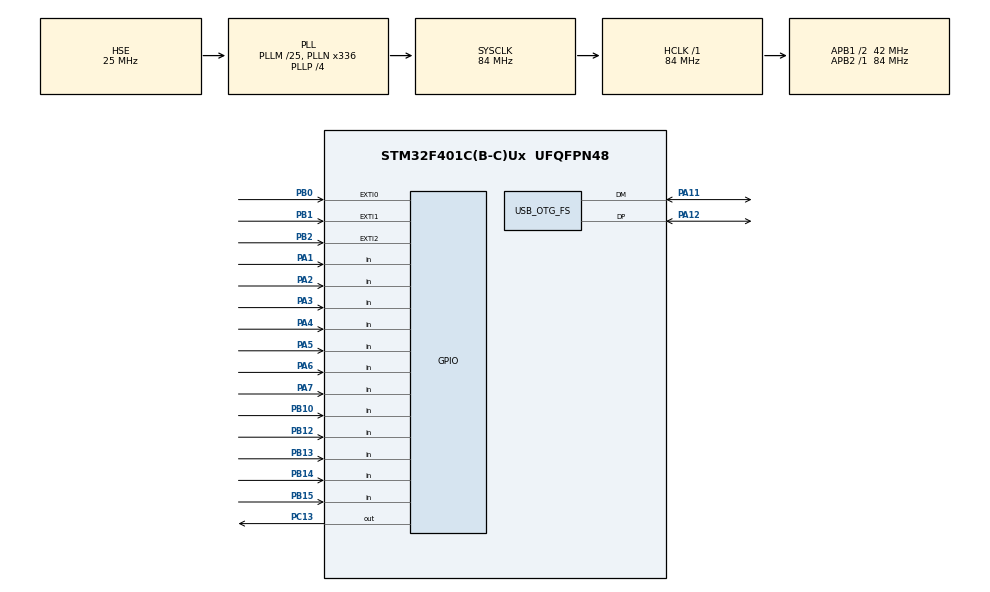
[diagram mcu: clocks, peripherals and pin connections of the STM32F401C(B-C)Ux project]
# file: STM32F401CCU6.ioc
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FREERTOS.Tasks01=defaultTask,24,128,StartDefaultTask,Default,NULL,Dynamic,NULL,NULL
FREERTOS.configUSE_NEWLIB_REENTRANT=1
Mcu.Family=STM32F4
Mcu.Name=STM32F401C(B-C)Ux
Mcu.Package=UFQFPN48
NVIC.EXTI0_IRQn=true\:5\:0\:false\:false\:true\:true\:true\:true\:true
NVIC.EXTI1_IRQn=true\:5\:0\:false\:false\:true\:true\:true\:true\:true
NVIC.EXTI2_IRQn=true\:5\:0\:false\:false\:true\:true\:true\:true\:true
NVIC.OTG_FS_IRQn=true\:5\:0\:false\:false\:true\:true\:false\:true\:true
NVIC.PriorityGroup=NVIC_PRIORITYGROUP_4
NVIC.TIM1_UP_TIM10_IRQn=true\:15\:0\:false\:false\:true\:false\:false\:true\:true
NVIC.TimeBase=TIM1_UP_TIM10_IRQn
NVIC.TimeBaseIP=TIM1
PA1.GPIO_PuPd=GPIO_PULLUP
PA1.Signal=GPIO_Input
PA11.Mode=Device_Only
PA11.Signal=USB_OTG_FS_DM
PA12.Mode=Device_Only
PA12.Signal=USB_OTG_FS_DP
PA13.Mode=Serial_Wire
PA13.Signal=SYS_JTMS-SWDIO
PA14.Mode=Serial_Wire
PA14.Signal=SYS_JTCK-SWCLK
PA2.GPIO_PuPd=GPIO_PULLUP
PA2.Signal=GPIO_Input
PA3.GPIO_PuPd=GPIO_PULLUP
PA3.Signal=GPIO_Input
PA4.GPIO_PuPd=GPIO_PULLUP
PA4.Signal=GPIO_Input
PA5.GPIO_PuPd=GPIO_PULLUP
PA5.Signal=GPIO_Input
PA6.GPIO_PuPd=GPIO_PULLUP
PA6.Signal=GPIO_Input
PA7.GPIO_PuPd=GPIO_PULLUP
PA7.Signal=GPIO_Input
PB0.GPIO_ModeDefaultEXTI=GPIO_MODE_IT_RISING
PB0.GPIO_PuPd=GPIO_PULLDOWN
PB0.Signal=GPXTI0
PB1.GPIO_ModeDefaultEXTI=GPIO_MODE_IT_RISING
PB1.GPIO_PuPd=GPIO_PULLDOWN
PB1.Signal=GPXTI1
PB10.GPIO_PuPd=GPIO_PULLUP
PB10.Signal=GPIO_Input
PB12.GPIO_PuPd=GPIO_PULLUP
PB12.Signal=GPIO_Input
PB13.GPIO_PuPd=GPIO_PULLUP
PB13.Signal=GPIO_Input
PB14.GPIO_PuPd=GPIO_PULLUP
PB14.Signal=GPIO_Input
PB15.GPIO_PuPd=GPIO_PULLUP
PB15.Signal=GPIO_Input
PB2.GPIO_ModeDefaultEXTI=GPIO_MODE_IT_RISING
PB2.GPIO_PuPd=GPIO_PULLDOWN
PB2.Signal=GPXTI2
PC13-ANTI_TAMP.Signal=GPIO_Output
PH0\ -\ OSC_IN.Mode=HSE-External-Oscillator
PH0\ -\ OSC_IN.Signal=RCC_OSC_IN
PH1\ -\ OSC_OUT.Mode=HSE-External-Oscillator
PH1\ -\ OSC_OUT.Signal=RCC_OSC_OUT
ProjectManager.HeapSize=0x200
ProjectManager.StackSize=0x400
ProjectManager.TargetToolchain=STM32CubeIDE
RCC.48MHZClocksFreq_Value=48000000
RCC.AHBFreq_Value=84000000
RCC.APB1CLKDivider=RCC_HCLK_DIV2
RCC.APB1Freq_Value=42000000
RCC.APB1TimFreq_Value=84000000
RCC.APB2Freq_Value=84000000
RCC.APB2TimFreq_Value=84000000
RCC.CortexFreq_Value=84000000
RCC.HCLKFreq_Value=84000000
RCC.HSE_VALUE=25000000
RCC.HSI_VALUE=16000000
RCC.LSE_VALUE=32768
RCC.PLLM=25
RCC.PLLN=336
RCC.PLLP=RCC_PLLP_DIV4
RCC.PLLQ=7
RCC.SYSCLKFreq_VALUE=84000000
RCC.SYSCLKSource=RCC_SYSCLKSOURCE_PLLCLK
RCC.VCOOutputFreq_Value=336000000
USB_DEVICE.CLASS_NAME_FS=CDC
USB_DEVICE.VirtualMode=Cdc
USB_DEVICE.VirtualModeFS=Cdc_FS
USB_OTG_FS.VirtualMode=Device_Only
VP_FREERTOS_VS_CMSIS_V2.Mode=CMSIS_V2
VP_SYS_VS_tim1.Mode=TIM1
VP_USB_DEVICE_VS_USB_DEVICE_CDC_FS.Mode=CDC_FS
board=custom

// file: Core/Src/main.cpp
/* USER CODE BEGIN Header */
/**
 ******************************************************************************
 * @file           : main.c
 * @brief          : Main program body
 ******************************************************************************
 * @attention
 *
 * Copyright (c) 2024 STMicroelectronics.
 * All rights reserved.
 *
 * This software is licensed under terms that can be found in the LICENSE file
 * in the root directory of this software component.
 * If no LICENSE file comes with this software, it is provided AS-IS.
 *
 ******************************************************************************
 */
/* USER CODE END Header */
#include <Json.h>
#include "main.h"
#include "cmsis_os.h"
#include "usb_device.h"
#include "usbd_cdc_if.h"
#include "Reader/SensorReader.h"
#include "Model/ModelManagement.h"

/* Definitions for defaultTask */
osThreadId_t defaultTaskHandle;
const osThreadAttr_t defaultTask_attributes = { .name = "defaultTask",
		.stack_size = 255 * 4, .priority = (osPriority_t) osPriorityNormal, };

void SystemClock_Config(void);
static void MX_GPIO_Init(void);
void StartDefaultTask(void *argument);

JsonDocument doc;

int main(void) {

	/* MCU Configuration--------------------------------------------------------*/

	/* Reset of all peripherals, Initializes the Flash interface and the Systick. */
	HAL_Init();

	/* Configure the system clock */
	SystemClock_Config();

	/* Initialize all configured peripherals */
	MX_GPIO_Init();

	/* Init scheduler */
	osKernelInitialize();

	/* Create the thread(s) */
	/* creation of defaultTask */
	defaultTaskHandle = osThreadNew(StartDefaultTask, NULL,
			&defaultTask_attributes);

	SensorReader::getInstance().start();

	/* Start scheduler */
	osKernelStart();

	/* We should never get here as control is now taken by the scheduler */

	/* Infinite loop */
	while (1) {

	}
}

void SystemClock_Config(void) {
	RCC_OscInitTypeDef RCC_OscInitStruct = { 0 };
	RCC_ClkInitTypeDef RCC_ClkInitStruct = { 0 };

	/** Configure the main internal regulator output voltage
	 */
	__HAL_RCC_PWR_CLK_ENABLE();
	__HAL_PWR_VOLTAGESCALING_CONFIG(PWR_REGULATOR_VOLTAGE_SCALE2);

	/** Initializes the RCC Oscillators according to the specified parameters
	 * in the RCC_OscInitTypeDef structure.
	 */
	RCC_OscInitStruct.OscillatorType = RCC_OSCILLATORTYPE_HSE;
	RCC_OscInitStruct.HSEState = RCC_HSE_ON;
	RCC_OscInitStruct.PLL.PLLState = RCC_PLL_ON;
	RCC_OscInitStruct.PLL.PLLSource = RCC_PLLSOURCE_HSE;
	RCC_OscInitStruct.PLL.PLLM = 25;
	RCC_OscInitStruct.PLL.PLLN = 336;
	RCC_OscInitStruct.PLL.PLLP = RCC_PLLP_DIV4;
	RCC_OscInitStruct.PLL.PLLQ = 7;
	if (HAL_RCC_OscConfig(&RCC_OscInitStruct) != HAL_OK) {
		Error_Handler();
	}

	/** Initializes the CPU, AHB and APB buses clocks
	 */
	RCC_ClkInitStruct.ClockType = RCC_CLOCKTYPE_HCLK | RCC_CLOCKTYPE_SYSCLK
			| RCC_CLOCKTYPE_PCLK1 | RCC_CLOCKTYPE_PCLK2;
	RCC_ClkInitStruct.SYSCLKSource = RCC_SYSCLKSOURCE_PLLCLK;
	RCC_ClkInitStruct.AHBCLKDivider = RCC_SYSCLK_DIV1;
	RCC_ClkInitStruct.APB1CLKDivider = RCC_HCLK_DIV2;
	RCC_ClkInitStruct.APB2CLKDivider = RCC_HCLK_DIV1;

	if (HAL_RCC_ClockConfig(&RCC_ClkInitStruct, FLASH_LATENCY_2) != HAL_OK) {
		Error_Handler();
	}
}

static void MX_GPIO_Init(void) {
	GPIO_InitTypeDef GPIO_InitStruct = { 0 };

	/* GPIO Ports Clock Enable */
	__HAL_RCC_GPIOC_CLK_ENABLE();
	__HAL_RCC_GPIOH_CLK_ENABLE();
	__HAL_RCC_GPIOA_CLK_ENABLE();
	__HAL_RCC_GPIOB_CLK_ENABLE();

	/*Configure GPIO pin Output Level */
	HAL_GPIO_WritePin(GPIOC, GPIO_PIN_13, GPIO_PIN_RESET);

	/*Configure GPIO pin : PC13 */
	GPIO_InitStruct.Pin = GPIO_PIN_13;
	GPIO_InitStruct.Mode = GPIO_MODE_OUTPUT_PP;
	GPIO_InitStruct.Pull = GPIO_NOPULL;
	GPIO_InitStruct.Speed = GPIO_SPEED_FREQ_LOW;
	HAL_GPIO_Init(GPIOC, &GPIO_InitStruct);

	/*Configure GPIO pins : PA1 PA2 PA3 PA4
	 PA5 PA6 PA7 */
	GPIO_InitStruct.Pin = GPIO_PIN_1 | GPIO_PIN_2 | GPIO_PIN_3 | GPIO_PIN_4
			| GPIO_PIN_5 | GPIO_PIN_6 | GPIO_PIN_7;
	GPIO_InitStruct.Mode = GPIO_MODE_INPUT;
	GPIO_InitStruct.Pull = GPIO_PULLDOWN;
	HAL_GPIO_Init(GPIOA, &GPIO_InitStruct);

	/*Configure GPIO pins : PB0 PB1 PB2 */
	GPIO_InitStruct.Pin = GPIO_PIN_0 | GPIO_PIN_1 | GPIO_PIN_2;
	GPIO_InitStruct.Mode = GPIO_MODE_IT_RISING;
	GPIO_InitStruct.Pull = GPIO_PULLUP;
	HAL_GPIO_Init(GPIOB, &GPIO_InitStruct);

	/*Configure GPIO pins : PB10 PB12 PB13 PB14
	 PB15 */
	GPIO_InitStruct.Pin = GPIO_PIN_10 | GPIO_PIN_12 | GPIO_PIN_13 | GPIO_PIN_14
			| GPIO_PIN_15;
	GPIO_InitStruct.Mode = GPIO_MODE_INPUT;
	GPIO_InitStruct.Pull = GPIO_PULLDOWN;
	HAL_GPIO_Init(GPIOB, &GPIO_InitStruct);

	/* EXTI interrupt init*/
	HAL_NVIC_SetPriority(EXTI0_IRQn, 5, 0);
	HAL_NVIC_EnableIRQ(EXTI0_IRQn);

	HAL_NVIC_SetPriority(EXTI1_IRQn, 5, 0);
	HAL_NVIC_EnableIRQ(EXTI1_IRQn);

	HAL_NVIC_SetPriority(EXTI2_IRQn, 5, 0);
	HAL_NVIC_EnableIRQ(EXTI2_IRQn);

}

void StartDefaultTask(void *argument) {
	/* init code for USB_DEVICE */
	/* USER CODE BEGIN 5 */
	/* Infinite loop */
	/* init code for USB_DEVICE */
	MX_USB_DEVICE_Init();
	uint8_t data[100];
	/* USER CODE BEGIN 5 */
	/* Infinite loop */
	SensorModel &sensorModel =
			*ModelManagement::getInstance().getSensorModel();
	EncodeModel &encodeModel = *sensorModel.getEncodeModel();
	TimeTicker timer(5000);
	doc["test"] = 0;
	for (;;) {
		doc["test"] = 1;
		int t = doc["test"].as<int>();
		sprintf((char*) data,
				"%d, Speed: %.3f, Distance: %.3f, RPM: %d , NT: %d, NP: %d, CM: %d\n\r", t,
				encodeModel.getSpeed(), encodeModel.getDistance(),
				sensorModel.getRpm(), sensorModel.isNt(), sensorModel.isNp(),
				sensorModel.isCm());
		CDC_Transmit_FS(data, strlen((char*) data));
		if (!timer.onTime()) {
			timer.reset();
//			sensorModel.setDistance(0);
			sensorModel.resetDistance();
		}
		osDelay(100);
	}
	/* USER CODE END 5 */
}

void HAL_TIM_PeriodElapsedCallback(TIM_HandleTypeDef *htim) {
	if (htim->Instance == TIM1) {
		HAL_IncTick();
	}
}

void Error_Handler(void) {
	__disable_irq();
	while (1) {
	}
}
